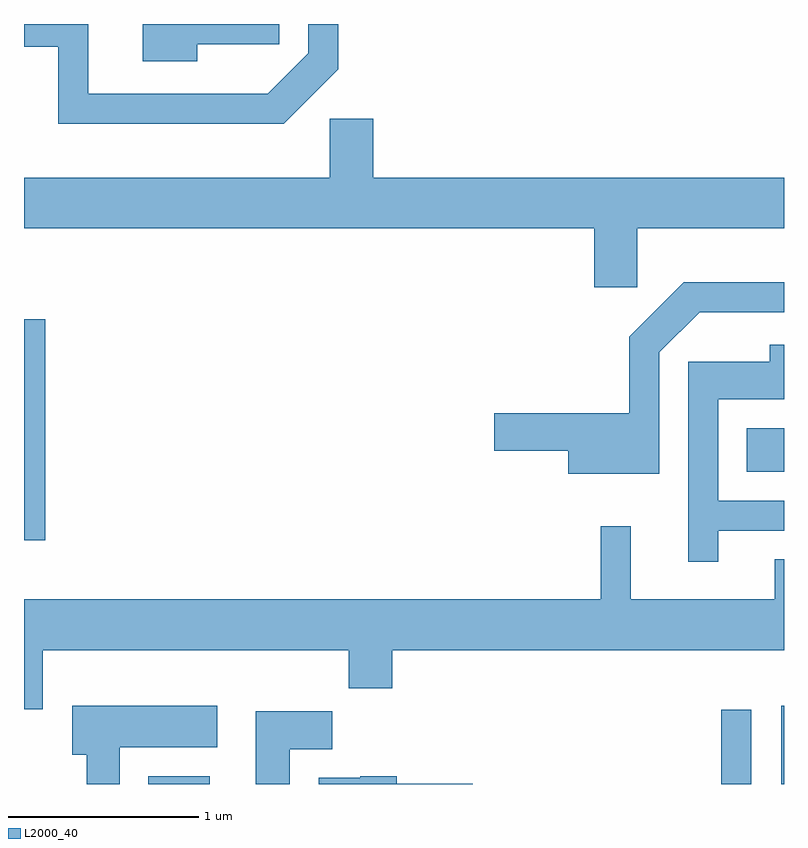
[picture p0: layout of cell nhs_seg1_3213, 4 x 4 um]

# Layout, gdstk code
import gdstk
lib = gdstk.Library(unit=1e-6, precision=1e-09)
def R(c, l, rs):  # rectangles x0, y0, x1, y1
    for r in rs: c.add(gdstk.rectangle(r[:2], r[2:], *l))
def P(c, l, *ps):  # polygons
    for p in ps: c.add(gdstk.Polygon(p, *l))
L2000_40 = (2000, 40)

nhs_seg1_3213 = lib.new_cell('nhs_seg1_3213')
R(nhs_seg1_3213, L2000_40, [(282.266,947.712,282.589,947.754), (285.281,947.712,285.439,948.103), (285.596,947.712,285.611,948.124), (281.611,948.996,281.724,950.159), (285.416,949.356,285.611,949.584)])
P(nhs_seg1_3213, L2000_40, [(283.264,951.474),(283.264,951.712),(283.106,951.712),(283.106,951.557),(282.894,951.344),(281.949,951.344),(281.949,951.712),(281.611,951.712),(281.611,951.591),(281.791,951.591),(281.791,951.186),(282.977,951.186)],
  [(282.524,951.606),(282.954,951.606),(282.954,951.712),(282.236,951.712),(282.236,951.516),(282.524,951.516)],
  [(284.839,950.636),(285.611,950.636),(285.611,950.904),(283.449,950.904),(283.449,951.214),(283.221,951.214),(283.221,950.904),(281.611,950.904),(281.611,950.636),(284.611,950.636),(284.611,950.326),(284.839,950.326)],
  [(284.954,949.984),(285.167,950.196),(285.611,950.196),(285.611,950.354),(285.084,950.354),(284.796,950.067),(284.796,949.664),(284.086,949.664),(284.086,949.466),(284.476,949.466),(284.476,949.346),(284.954,949.346)],
  [(285.264,949.046),(285.611,949.046),(285.611,949.204),(285.264,949.204),(285.264,949.736),(285.611,949.736),(285.611,950.024),(285.536,950.024),(285.536,949.934),(285.106,949.934),(285.106,948.883),(285.264,948.883)],
  [(281.709,948.416),(283.321,948.416),(283.321,948.216),(283.549,948.216),(283.549,948.416),(285.611,948.416),(285.611,948.894),(285.561,948.894),(285.561,948.684),(284.804,948.684),(284.804,949.068),(284.646,949.068),(284.646,948.684),(281.611,948.684),(281.611,948.106),(281.709,948.106)],
  [(282.114,947.906),(282.629,947.906),(282.629,948.124),(281.866,948.124),(281.866,947.866),(281.941,947.866),(281.941,947.712),(282.114,947.712)],
  [(283.009,947.896),(283.234,947.896),(283.234,948.094),(282.831,948.094),(282.831,947.712),(283.009,947.712)],
  [(283.974,947.714),(283.574,947.714),(283.574,947.754),(283.38,947.754),(283.38,947.744),(283.161,947.744),(283.161,947.712),(283.974,947.712)])

lib.write_gds('nhs_seg1_3213.gds')
